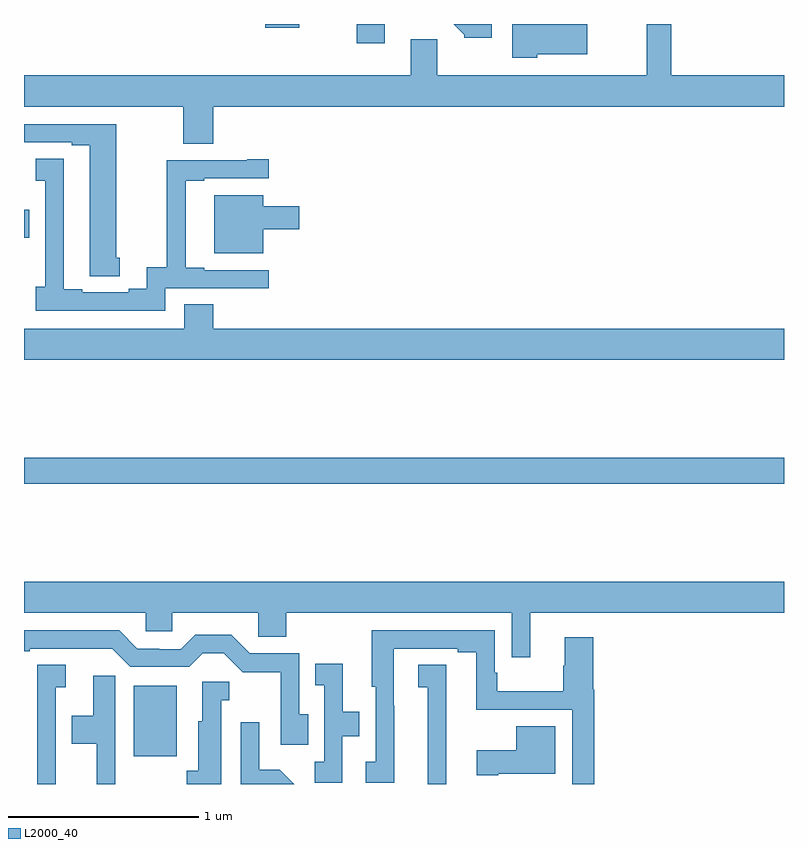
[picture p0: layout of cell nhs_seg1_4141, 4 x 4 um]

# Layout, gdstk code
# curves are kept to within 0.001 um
import gdstk
lib = gdstk.Library(unit=1e-6, precision=1e-09)
def R(c, l, rs):  # rectangles x0, y0, x1, y1
    for r in rs: c.add(gdstk.rectangle(r[:2], r[2:], *l))
def P(c, l, *ps):  # polygons
    for p in ps: c.add(gdstk.Polygon(p, *l))
L2000_40 = (2000, 40)

nhs_seg1_4141 = lib.new_cell('nhs_seg1_4141')
R(nhs_seg1_4141, L2000_40, [(337.577,516.344,337.804,516.715), (337,517.78,341,517.916), (337,519.074,337.028,519.222), (338.752,520.097,338.899,520.199), (338.27,520.179,338.448,520.199)])
P(nhs_seg1_4141, L2000_40, [(337,519.764),(337.837,519.764),(337.837,519.568),(337.997,519.568),(337.997,519.764),(341,519.764),(341,519.928),(340.406,519.928),(340.406,520.199),(340.278,520.199),(340.278,519.928),(339.175,519.928),(339.175,520.118),(339.035,520.118),(339.035,519.928),(337,519.928)],
  [(339.702,520.04),(339.964,520.04),(339.964,520.198),(339.666,520.198),(339.666,520.199),(339.57,520.199),(339.57,520.022),(339.702,520.022)],
  [(339.463,520.199),(339.261,520.199),(339.318,520.142),(339.318,520.127),(339.463,520.127)],
  [(337.504,518.97),(337.486,518.97),(337.486,519.672),(337,519.672),(337,519.576),(337.25,519.576),(337.25,519.561),(337.346,519.561),(337.346,518.98),(337.347,518.98),(337.347,518.872),(337.504,518.872)],
  [(337.743,518.808),(338.287,518.808),(338.287,518.904),(337.948,518.904),(337.948,518.917),(337.852,518.917),(337.852,519.375),(337.948,519.375),(337.948,519.387),(338.287,519.387),(338.287,519.488),(338.174,519.488),(338.174,519.483),(337.75,519.483),(337.75,518.92),(337.646,518.92),(337.646,518.806),(337.55,518.806),(337.55,518.787),(337.306,518.787),(337.306,518.802),(337.21,518.802),(337.21,519.383),(337.209,519.383),(337.209,519.491),(337.062,519.491),(337.062,519.373),(337.113,519.373),(337.113,518.815),(337.062,518.815),(337.062,518.691),(337.743,518.691)],
  [(338.26,519.119),(338.449,519.119),(338.449,519.241),(338.26,519.241),(338.26,519.298),(338,519.298),(338,518.993),(338.26,518.993)],
  [(341,518.596),(337.997,518.596),(337.997,518.723),(337.844,518.723),(337.844,518.596),(337,518.596),(337,518.432),(341,518.432)],
  [(339.665,517.1),(341,517.1),(341,517.264),(337,517.264),(337,517.1),(337.641,517.1),(337.641,517.002),(337.779,517.002),(337.779,517.1),(338.232,517.1),(338.232,516.973),(338.379,516.973),(338.379,517.1),(339.567,517.1),(339.567,516.867),(339.665,516.867)],
  [(338.495,516.566),(338.448,516.566),(338.448,516.888),(338.187,516.888),(338.09,516.985),(337.9,516.985),(337.824,516.909),(337.712,516.909),(337.712,516.912),(337.596,516.912),(337.5,517.008),(337,517.008),(337,516.897),(337.03,516.897),(337.03,516.912),(337.465,516.911),(337.56,516.816),(337.869,516.816),(337.94,516.888),(338.05,516.888),(338.15,516.787),(338.352,516.787),(338.352,516.405),(338.495,516.405)],
  [(340.001,516.694),(339.995,516.694),(339.995,516.972),(339.845,516.972),(339.845,516.822),(339.838,516.822),(339.838,516.688),(339.49,516.688),(339.49,516.784),(339.477,516.784),(339.477,517.008),(338.831,517.008),(338.831,516.711),(338.85,516.711),(338.85,516.316),(338.799,516.316),(338.799,516.205),(338.948,516.205),(338.948,516.611),(338.946,516.611),(338.946,516.912),(339.284,516.912),(339.284,516.892),(339.38,516.892),(339.38,516.591),(339.885,516.591),(339.885,516.199),(340.001,516.199)],
  [(338.676,516.45),(338.765,516.45),(338.765,516.578),(338.677,516.578),(338.677,516.832),(338.533,516.832),(338.533,516.719),(338.58,516.719),(338.58,516.316),(338.531,516.316),(338.531,516.205),(338.676,516.205)],
  [(339.223,516.827),(339.075,516.827),(339.075,516.709),(339.125,516.709),(339.125,516.199),(339.223,516.199)],
  [(337.167,516.709),(337.219,516.709),(337.219,516.827),(337.071,516.827),(337.071,516.719),(337.07,516.719),(337.07,516.199),(337.167,516.199)],
  [(337.48,516.769),(337.364,516.769),(337.364,516.558),(337.252,516.558),(337.252,516.41),(337.382,516.41),(337.382,516.199),(337.48,516.199)],
  [(338.038,516.639),(338.079,516.639),(338.079,516.738),(337.937,516.738),(337.937,516.528),(337.916,516.528),(337.916,516.268),(337.856,516.268),(337.856,516.199),(338.038,516.199)],
  [(338.347,516.275),(338.238,516.275),(338.238,516.523),(338.142,516.523),(338.142,516.199),(338.423,516.199)],
  [(339.496,516.254),(339.796,516.254),(339.796,516.502),(339.59,516.502),(339.59,516.376),(339.384,516.376),(339.384,516.246),(339.496,516.246)])

lib.write_gds('nhs_seg1_4141.gds')
